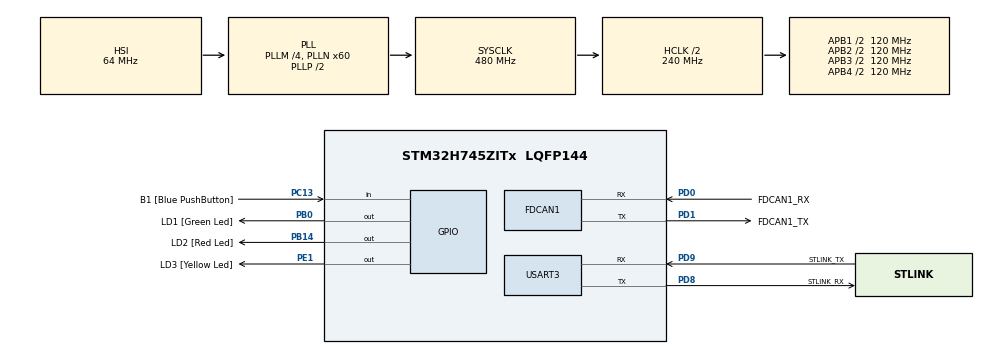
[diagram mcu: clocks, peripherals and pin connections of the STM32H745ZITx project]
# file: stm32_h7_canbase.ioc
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CortexM4.IPs=BDMA,CORTEX_M4\:I,DEBUG,DMA,FATFS_M4\:I,FREERTOS_M4\:I,GPIO,IWDG2\:I,MDMA,NVIC2\:I,OPENAMP_M4\:I,PDM2PCM_M4\:I,PWR,RCC,RESMGR_UTILITY,SYS_M4\:I,USB_DEVICE_M4\:I,USB_HOST_M4\:I,VREFBUF,WWDG2\:I,USART3
CortexM4.Pins=PE1
CortexM7.IPs=BDMA\:I,CORTEX_M7\:I,DEBUG\:I,DMA\:I,FATFS_M7\:I,FREERTOS_M7\:I,GPIO\:I,IWDG1\:I,MDMA\:I,NVIC1\:I,OPENAMP_M7\:I,PDM2PCM_M7\:I,PWR\:I,RCC\:I,RESMGR_UTILITY\:I,SYS\:I,USB_DEVICE_M7\:I,USB_HOST_M7\:I,VREFBUF\:I,WWDG1\:I,USART3\:I,FDCAN1\:I
CortexM7.Pins=PC13,PB0,PB14
FDCAN1.CalculateBaudRateNominal=250000
FDCAN1.CalculateTimeBitNominal=4000
FDCAN1.CalculateTimeQuantumNominal=50.0
FDCAN1.Mode=FDCAN_MODE_NORMAL
FDCAN1.NominalPrescaler=2
FDCAN1.NominalSyncJumpWidth=8
FDCAN1.NominalTimeSeg1=0x3F
FDCAN1.NominalTimeSeg2=16
FDCAN1.ProtocolException=ENABLE
FDCAN1.RxFifo0ElmtsNbr=1
FDCAN1.StdFiltersNbr=1
FDCAN1.TxFifoQueueElmtsNbr=1
Mcu.Family=STM32H7
Mcu.Name=STM32H745ZITx
Mcu.Package=LQFP144
NVIC1.PriorityGroup=NVIC_PRIORITYGROUP_4
NVIC2.PriorityGroup=NVIC_PRIORITYGROUP_4
PA13\ (JTMS/SWDIO).Mode=Serial_Wire
PA13\ (JTMS/SWDIO).PinAttribute=CortexM7
PA13\ (JTMS/SWDIO).Signal=DEBUG_JTMS-SWDIO
PA14\ (JTCK/SWCLK).Mode=Serial_Wire
PA14\ (JTCK/SWCLK).PinAttribute=CortexM7
PA14\ (JTCK/SWCLK).Signal=DEBUG_JTCK-SWCLK
PB0.GPIO_Label=LD1 [Green Led]
PB0.PinAttribute=CortexM7
PB0.Signal=GPIO_Output
PB14.GPIO_Label=LD2 [Red Led]
PB14.PinAttribute=CortexM7
PB14.Signal=GPIO_Output
PC13.GPIO_Label=B1 [Blue PushButton]
PC13.PinAttribute=CortexM7
PC13.Signal=GPIO_Input
PC14-OSC32_IN\ (OSC32_IN).Mode=LSE-External-Oscillator
PC14-OSC32_IN\ (OSC32_IN).PinAttribute=CortexM7
PC14-OSC32_IN\ (OSC32_IN).Signal=RCC_OSC32_IN
PC15-OSC32_OUT\ (OSC32_OUT).Mode=LSE-External-Oscillator
PC15-OSC32_OUT\ (OSC32_OUT).PinAttribute=CortexM7
PC15-OSC32_OUT\ (OSC32_OUT).Signal=RCC_OSC32_OUT
PD0.GPIO_Label=FDCAN1_RX
PD0.GPIO_PuPd=GPIO_PULLUP
PD0.GPIO_Speed=GPIO_SPEED_FREQ_VERY_HIGH
PD0.Mode=FDCAN_Activate
PD0.PinAttribute=CortexM7
PD0.Signal=FDCAN1_RX
PD1.GPIO_Label=FDCAN1_TX
PD1.GPIO_PuPd=GPIO_PULLUP
PD1.GPIO_Speed=GPIO_SPEED_FREQ_VERY_HIGH
PD1.Mode=FDCAN_Activate
PD1.PinAttribute=CortexM7
PD1.Signal=FDCAN1_TX
PD8.GPIO_Label=STLINK_RX
PD8.Mode=Asynchronous
PD8.PinAttribute=CortexM7
PD8.Signal=USART3_TX
PD9.GPIO_Label=STLINK_TX
PD9.Mode=Asynchronous
PD9.PinAttribute=CortexM7
PD9.Signal=USART3_RX
PE1.GPIO_Label=LD3 [Yellow Led]
PE1.PinAttribute=CortexM4
PE1.Signal=GPIO_Output
PH0-OSC_IN\ (PH0).Mode=HSE-External-Clock-Source
PH0-OSC_IN\ (PH0).PinAttribute=CortexM7
PH0-OSC_IN\ (PH0).Signal=RCC_OSC_IN
ProjectManager.HeapSize=M4-0x200,M7-0x200
ProjectManager.StackSize=M4-0x400,M7-0x400
ProjectManager.TargetToolchain=STM32CubeIDE
RCC.ADCFreq_Value=72000000
RCC.APB1Freq_Value=120000000
RCC.APB2Freq_Value=120000000
RCC.APB3Freq_Value=120000000
RCC.APB4Freq_Value=120000000
RCC.CortexFreq_Value=480000000
RCC.D1PPRE=RCC_APB3_DIV2
RCC.D2PPRE1=RCC_APB1_DIV2
RCC.D2PPRE2=RCC_APB2_DIV2
RCC.D3PPRE=RCC_APB4_DIV2
RCC.DIVM1=4
RCC.DIVM2=4
RCC.DIVN1=60
RCC.DIVN2=9
RCC.DIVQ1=24
RCC.HCLKFreq_Value=240000000
RCC.HPRE=RCC_HCLK_DIV2
RCC.HSE_VALUE=8000000
RCC.SYSCLKFreq_VALUE=480000000
RCC.SYSCLKSource=RCC_SYSCLKSOURCE_PLLCLK
RCC.USBFreq_Value=40000000
SYS.userName=SYS_M7
USART3.VirtualMode-Asynchronous=VM_ASYNC
VP_SYS_M4_VS_Systick.Mode=SysTick
board=custom

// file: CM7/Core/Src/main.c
/* USER CODE BEGIN Header */
/**
  **********
  * @file           : main.c
  * @brief          : Main program body
  **********
  * @attention
  *
  * Copyright (c) 2022 STMicroelectronics.
  * All rights reserved.
  *
  * This software is licensed under terms that can be found in the LICENSE file
  * in the root directory of this software component.
  * If no LICENSE file comes with this software, it is provided AS-IS.
  *
  **********
  */
/* USER CODE END Header */
#include "main.h"

/* USER CODE BEGIN Includes */
#include "myprintf.h"
/* USER CODE END Includes */

/* USER CODE BEGIN PD */

#ifndef HSEM_ID_0
#define HSEM_ID_0 (0U) /* HW semaphore 0*/
#endif
/* USER CODE END PD */

FDCAN_HandleTypeDef hfdcan1;

UART_HandleTypeDef huart3;

/* USER CODE BEGIN PV */
FDCAN_FilterTypeDef sFilterConfig;
FDCAN_TxHeaderTypeDef TxHeader;
FDCAN_RxHeaderTypeDef RxHeader;

/* USER CODE END PV */

void SystemClock_Config(void);
static void MX_GPIO_Init(void);
static void MX_USART3_UART_Init(void);
static void MX_FDCAN1_Init(void);

int main(void)
{
/* USER CODE BEGIN Boot_Mode_Sequence_0 */
  int32_t timeout;
/* USER CODE END Boot_Mode_Sequence_0 */

/* USER CODE BEGIN Boot_Mode_Sequence_1 */
  /* Wait until CPU2 boots and enters in stop mode or timeout*/
  timeout = 0xFFFF;
  while((__HAL_RCC_GET_FLAG(RCC_FLAG_D2CKRDY) != RESET) && (timeout-- > 0));
  if ( timeout < 0 )
  {
  Error_Handler();
  }
/* USER CODE END Boot_Mode_Sequence_1 */
  /* MCU Configuration--------------------------------------------------------*/

  /* Reset of all peripherals, Initializes the Flash interface and the Systick. */
  HAL_Init();

  /* Configure the system clock */
  SystemClock_Config();
/* USER CODE BEGIN Boot_Mode_Sequence_2 */
/* When system initialization is finished, Cortex-M7 will release Cortex-M4 by means of
HSEM notification */

__HAL_RCC_HSEM_CLK_ENABLE();
/*Take HSEM */
HAL_HSEM_FastTake(HSEM_ID_0);

HAL_HSEM_Release(HSEM_ID_0,0);
/* wait until CPU2 wakes up from stop mode */
timeout = 0xFFFF;
while((__HAL_RCC_GET_FLAG(RCC_FLAG_D2CKRDY) == RESET) && (timeout-- > 0));
if ( timeout < 0 )
{
Error_Handler();
}
/* USER CODE END Boot_Mode_Sequence_2 */

  /* Initialize all configured peripherals */
  MX_GPIO_Init();
  MX_USART3_UART_Init();
  MX_FDCAN1_Init();
  /* USER CODE BEGIN 2 */
  uint8_t TxData[] = {0x01,0x00,0xFF,0xFF,0xFF,0x00,0xFF,0xFF};
  uint8_t TxData2[] = {0x00,0x01,0xFF,0xFF,0xFF,0x01,0xFF,0xFF};
  uint8_t TxData3[] = {0xFF,0xFF,0xFF,0x00,0x22,0xFF,0xFF,0xFF};
  uint8_t TxData4[] = {0xFF,0xFF,0xFF,0x00,0x00,0xFF,0xFF,0xFF};

  /* USER CODE END 2 */

  /* Infinite loop */
  /* USER CODE BEGIN WHILE */
     printf("Hello World\r\n");
     while (1){
//     	while (HAL_FDCAN_GetRxMessage(&hfdcan1, FDCAN_RX_FIFO0, &RxHeader, RxData) != HAL_OK);
//
//     	HAL_Delay(10);
//     	printf("\n\rCAN ID: %lx", RxHeader.Identifier);
//
//     	printf(" [%X] ", ((unsigned int)RxHeader.DataLength & 0x000F0000) >> 16 );
//     	printf(" %02X %02X %02X %02X %02X %02X %02X %02X",RxData[0], RxData[1], RxData[2], RxData[3], RxData[4], RxData[5], RxData[6], RxData[7]);
//     	HAL_GPIO_TogglePin(LD1_GPIO_Port,LD1_Pin);
//     	HAL_Delay(100); /AAO-/

      	TxHeader.Identifier = 0x00FF14A3;
      	HAL_FDCAN_AddMessageToTxFifoQ(&hfdcan1, &TxHeader, TxData);
      	HAL_Delay(100);
      	TxHeader.Identifier = 0x00F004A3;
      	HAL_FDCAN_AddMessageToTxFifoQ(&hfdcan1, &TxHeader, TxData3);
      	HAL_Delay(400);
     	TxHeader.Identifier = 0x00FF14A3;
     	HAL_FDCAN_AddMessageToTxFifoQ(&hfdcan1, &TxHeader, TxData2);
     	HAL_Delay(100);
     	TxHeader.Identifier = 0x00F004A3;
     	HAL_FDCAN_AddMessageToTxFifoQ(&hfdcan1, &TxHeader, TxData4);
     	HAL_Delay(400);
    /* USER CODE END WHILE */

     }
}

void SystemClock_Config(void)
{
  RCC_OscInitTypeDef RCC_OscInitStruct = {0};
  RCC_ClkInitTypeDef RCC_ClkInitStruct = {0};

  /** Supply configuration update enable
  */
  HAL_PWREx_ConfigSupply(PWR_DIRECT_SMPS_SUPPLY);

  /** Configure the main internal regulator output voltage
  */
  __HAL_PWR_VOLTAGESCALING_CONFIG(PWR_REGULATOR_VOLTAGE_SCALE0);

  while(!__HAL_PWR_GET_FLAG(PWR_FLAG_VOSRDY)) {}

  /** Initializes the RCC Oscillators according to the specified parameters
  * in the RCC_OscInitTypeDef structure.
  */
  RCC_OscInitStruct.OscillatorType = RCC_OSCILLATORTYPE_HSI;
  RCC_OscInitStruct.HSIState = RCC_HSI_DIV1;
  RCC_OscInitStruct.HSICalibrationValue = RCC_HSICALIBRATION_DEFAULT;
  RCC_OscInitStruct.PLL.PLLState = RCC_PLL_ON;
  RCC_OscInitStruct.PLL.PLLSource = RCC_PLLSOURCE_HSI;
  RCC_OscInitStruct.PLL.PLLM = 4;
  RCC_OscInitStruct.PLL.PLLN = 60;
  RCC_OscInitStruct.PLL.PLLP = 2;
  RCC_OscInitStruct.PLL.PLLQ = 24;
  RCC_OscInitStruct.PLL.PLLR = 2;
  RCC_OscInitStruct.PLL.PLLRGE = RCC_PLL1VCIRANGE_3;
  RCC_OscInitStruct.PLL.PLLVCOSEL = RCC_PLL1VCOWIDE;
  RCC_OscInitStruct.PLL.PLLFRACN = 0;
  if (HAL_RCC_OscConfig(&RCC_OscInitStruct) != HAL_OK)
  {
    Error_Handler();
  }

  /** Initializes the CPU, AHB and APB buses clocks
  */
  RCC_ClkInitStruct.ClockType = RCC_CLOCKTYPE_HCLK|RCC_CLOCKTYPE_SYSCLK
                              |RCC_CLOCKTYPE_PCLK1|RCC_CLOCKTYPE_PCLK2
                              |RCC_CLOCKTYPE_D3PCLK1|RCC_CLOCKTYPE_D1PCLK1;
  RCC_ClkInitStruct.SYSCLKSource = RCC_SYSCLKSOURCE_PLLCLK;
  RCC_ClkInitStruct.SYSCLKDivider = RCC_SYSCLK_DIV1;
  RCC_ClkInitStruct.AHBCLKDivider = RCC_HCLK_DIV2;
  RCC_ClkInitStruct.APB3CLKDivider = RCC_APB3_DIV2;
  RCC_ClkInitStruct.APB1CLKDivider = RCC_APB1_DIV2;
  RCC_ClkInitStruct.APB2CLKDivider = RCC_APB2_DIV2;
  RCC_ClkInitStruct.APB4CLKDivider = RCC_APB4_DIV2;

  if (HAL_RCC_ClockConfig(&RCC_ClkInitStruct, FLASH_LATENCY_4) != HAL_OK)
  {
    Error_Handler();
  }
}

static void MX_FDCAN1_Init(void)
{

  hfdcan1.Instance = FDCAN1;
  hfdcan1.Init.FrameFormat = FDCAN_FRAME_CLASSIC;
  hfdcan1.Init.Mode = FDCAN_MODE_NORMAL;
  hfdcan1.Init.AutoRetransmission = DISABLE;
  hfdcan1.Init.TransmitPause = DISABLE;
  hfdcan1.Init.ProtocolException = ENABLE;
  hfdcan1.Init.NominalPrescaler = 2;
  hfdcan1.Init.NominalSyncJumpWidth = 8;
  hfdcan1.Init.NominalTimeSeg1 = 0x3F;
  hfdcan1.Init.NominalTimeSeg2 = 16;
  hfdcan1.Init.DataPrescaler = 1;
  hfdcan1.Init.DataSyncJumpWidth = 1;
  hfdcan1.Init.DataTimeSeg1 = 1;
  hfdcan1.Init.DataTimeSeg2 = 1;
  hfdcan1.Init.MessageRAMOffset = 0;
  hfdcan1.Init.StdFiltersNbr = 1;
  hfdcan1.Init.ExtFiltersNbr = 0;
  hfdcan1.Init.RxFifo0ElmtsNbr = 1;
  hfdcan1.Init.RxFifo0ElmtSize = FDCAN_DATA_BYTES_8;
  hfdcan1.Init.RxFifo1ElmtsNbr = 0;
  hfdcan1.Init.RxFifo1ElmtSize = FDCAN_DATA_BYTES_8;
  hfdcan1.Init.RxBuffersNbr = 0;
  hfdcan1.Init.RxBufferSize = FDCAN_DATA_BYTES_8;
  hfdcan1.Init.TxEventsNbr = 0;
  hfdcan1.Init.TxBuffersNbr = 0;
  hfdcan1.Init.TxFifoQueueElmtsNbr = 1;
  hfdcan1.Init.TxFifoQueueMode = FDCAN_TX_FIFO_OPERATION;
  hfdcan1.Init.TxElmtSize = FDCAN_DATA_BYTES_8;
  if (HAL_FDCAN_Init(&hfdcan1) != HAL_OK)
  {
    Error_Handler();
  }
  /* USER CODE BEGIN FDCAN1_Init 2 */

   /* Configure Rx filter */
    sFilterConfig.IdType = FDCAN_STANDARD_ID;
    sFilterConfig.FilterIndex = 0;
    sFilterConfig.FilterType = FDCAN_FILTER_MASK;
    sFilterConfig.FilterConfig = FDCAN_FILTER_TO_RXFIFO0;
//    sFilterConfig.FilterID1 = 0x321;
//    sFilterConfig.FilterID2 = 0x7FF;
    sFilterConfig.FilterID1 = 0x610; //Testing
	sFilterConfig.FilterID2 = 0xFFF;

    /* Configure global filter to reject all non-matching frames */
    HAL_FDCAN_ConfigGlobalFilter(&hfdcan1, FDCAN_REJECT, FDCAN_REJECT, FDCAN_REJECT_REMOTE, FDCAN_REJECT_REMOTE);

    if (HAL_FDCAN_ConfigFilter(&hfdcan1, &sFilterConfig) != HAL_OK)
      {
         /* Filter configuration Error */
         Error_Handler();
      }
     /* Start the FDCAN module */
    if (HAL_FDCAN_Start(&hfdcan1) != HAL_OK) {
      }
         /* Start Error */
    if (HAL_FDCAN_ActivateNotification(&hfdcan1, FDCAN_IT_RX_FIFO0_NEW_MESSAGE, 0) != HAL_OK) {
      }
         /* Notification Error */

     /* Configure Tx buffer message */
    TxHeader.Identifier = 0x00FF14A3;
//    TxHeader.IdType = FDCAN_STANDARD_ID;
    TxHeader.IdType = FDCAN_EXTENDED_ID;
    TxHeader.TxFrameType = FDCAN_DATA_FRAME;
//    TxHeader.DataLength = FDCAN_DLC_BYTES_12;
    TxHeader.DataLength = FDCAN_DLC_BYTES_8;
    TxHeader.ErrorStateIndicator = FDCAN_ESI_ACTIVE;
    TxHeader.BitRateSwitch = FDCAN_BRS_ON;
    TxHeader.FDFormat = FDCAN_FD_CAN;
    TxHeader.TxEventFifoControl = FDCAN_NO_TX_EVENTS;
    TxHeader.MessageMarker = 0x00;

  /* USER CODE END FDCAN1_Init 2 */

}

static void MX_USART3_UART_Init(void)
{

  huart3.Instance = USART3;
  huart3.Init.BaudRate = 115200;
  huart3.Init.WordLength = UART_WORDLENGTH_8B;
  huart3.Init.StopBits = UART_STOPBITS_1;
  huart3.Init.Parity = UART_PARITY_NONE;
  huart3.Init.Mode = UART_MODE_TX_RX;
  huart3.Init.HwFlowCtl = UART_HWCONTROL_NONE;
  huart3.Init.OverSampling = UART_OVERSAMPLING_16;
  huart3.Init.OneBitSampling = UART_ONE_BIT_SAMPLE_DISABLE;
  huart3.Init.ClockPrescaler = UART_PRESCALER_DIV1;
  huart3.AdvancedInit.AdvFeatureInit = UART_ADVFEATURE_NO_INIT;
  if (HAL_UART_Init(&huart3) != HAL_OK)
  {
    Error_Handler();
  }
  if (HAL_UARTEx_SetTxFifoThreshold(&huart3, UART_TXFIFO_THRESHOLD_1_8) != HAL_OK)
  {
    Error_Handler();
  }
  if (HAL_UARTEx_SetRxFifoThreshold(&huart3, UART_RXFIFO_THRESHOLD_1_8) != HAL_OK)
  {
    Error_Handler();
  }
  if (HAL_UARTEx_DisableFifoMode(&huart3) != HAL_OK)
  {
    Error_Handler();
  }

}

static void MX_GPIO_Init(void)
{
  GPIO_InitTypeDef GPIO_InitStruct = {0};

  /* GPIO Ports Clock Enable */
  __HAL_RCC_GPIOC_CLK_ENABLE();
  __HAL_RCC_GPIOH_CLK_ENABLE();
  __HAL_RCC_GPIOB_CLK_ENABLE();
  __HAL_RCC_GPIOD_CLK_ENABLE();
  __HAL_RCC_GPIOA_CLK_ENABLE();

  /*Configure GPIO pin Output Level */
  HAL_GPIO_WritePin(GPIOB, LD1_Pin|LD2_Pin, GPIO_PIN_RESET);

  /*Configure GPIO pin : B1_Pin */
  GPIO_InitStruct.Pin = B1_Pin;
  GPIO_InitStruct.Mode = GPIO_MODE_INPUT;
  GPIO_InitStruct.Pull = GPIO_NOPULL;
  HAL_GPIO_Init(B1_GPIO_Port, &GPIO_InitStruct);

  /*Configure GPIO pins : LD1_Pin LD2_Pin */
  GPIO_InitStruct.Pin = LD1_Pin|LD2_Pin;
  GPIO_InitStruct.Mode = GPIO_MODE_OUTPUT_PP;
  GPIO_InitStruct.Pull = GPIO_NOPULL;
  GPIO_InitStruct.Speed = GPIO_SPEED_FREQ_LOW;
  HAL_GPIO_Init(GPIOB, &GPIO_InitStruct);

}

void Error_Handler(void)
{
  __disable_irq();
  while (1)
  {
  }
}
